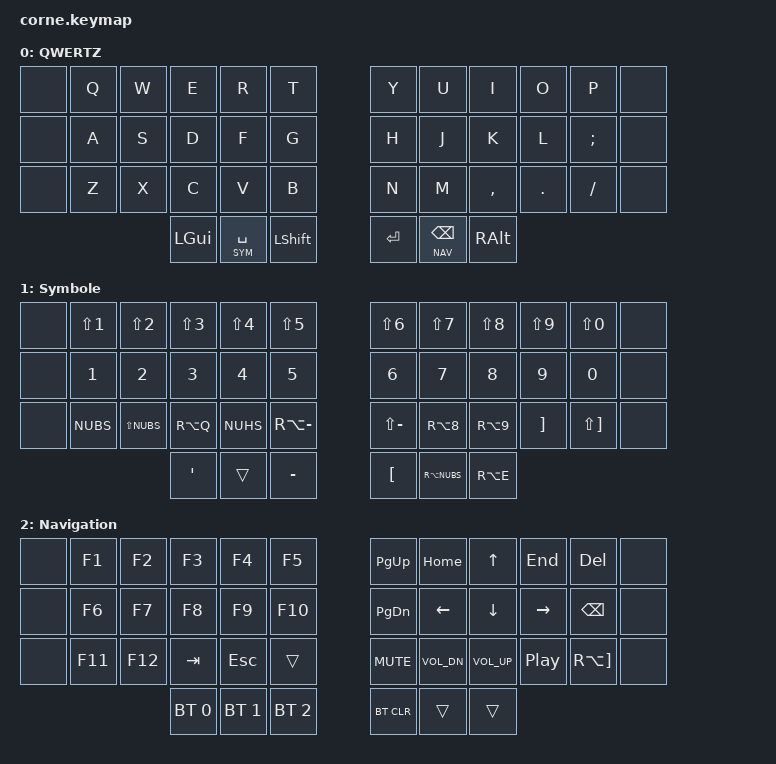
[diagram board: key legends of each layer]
/*
 * Corne 5-Column (36 Tasten) mit deutschem QWERTZ
 * Voraussetzung: Betriebssystem steht auf deutschem Tastaturlayout.
 * ZMK sendet HID Codes (US-Positionen), das OS macht daraus QWERTZ.
 * Darum steht fuer "Z" der HID Code Y und umgekehrt.
 */

#include <behaviors.dtsi>
#include <dt-bindings/zmk/keys.h>
#include <dt-bindings/zmk/bt.h>

/* Deutsche Sonderzeichen (HID Code + Modifier) */
#define DE_AE   SQT
#define DE_OE   SEMI
#define DE_UE   LBKT
#define DE_SS   MINUS
#define DE_EXCL LS(N1)
#define DE_DQT  LS(N2)
#define DE_SECT LS(N3)
#define DE_DLR  LS(N4)
#define DE_PRCT LS(N5)
#define DE_AMPS LS(N6)
#define DE_SLSH LS(N7)
#define DE_LPAR LS(N8)
#define DE_RPAR LS(N9)
#define DE_EQL  LS(N0)
#define DE_QMARK LS(MINUS)
#define DE_PLUS RBKT
#define DE_STAR LS(RBKT)
#define DE_HASH NUHS
#define DE_LT   NUBS
#define DE_GT   LS(NUBS)
#define DE_PIPE RA(NUBS)
#define DE_BSLH RA(MINUS)
#define DE_AT   RA(Q)
#define DE_EURO RA(E)
#define DE_LBRC RA(N8)
#define DE_RBRC RA(N9)
#define DE_LCBR RA(N7)
#define DE_RCBR RA(N0)
#define DE_TILD RA(RBKT)
#define DE_MINS SLASH
#define DE_COLN LS(DOT)
#define DE_SEMI LS(COMMA)

#define BASE 0
#define SYM  1
#define NAV  2

/ {
    combos {
        compatible = "zmk,combos";

        /* Ue: P + Oe */
        combo_ue {
            timeout-ms = <40>;
            key-positions = <10 22>;
            bindings = <&kp DE_UE>;
        };
        /* Ae: Oe + Minus (untere Reihe rechts) */
        combo_ae {
            timeout-ms = <40>;
            key-positions = <22 34>;
            bindings = <&kp DE_AE>;
        };
        /* ss: O + P */
        combo_ss {
            timeout-ms = <40>;
            key-positions = <9 10>;
            bindings = <&kp DE_SS>;
        };
    };

    keymap {
        compatible = "zmk,keymap";

        base_layer {
            label = "QWERTZ";
            bindings = <
&none &kp Q &kp W &kp E &kp R &kp T &kp Y &kp U &kp I &kp O &kp P &none
&none &kp A &kp S &kp D &kp F &kp G &kp H &kp J &kp K &kp L &kp DE_OE &none
&none &kp Z &kp X &kp C &kp V &kp B &kp N &kp M &kp COMMA &kp DOT &kp DE_MINS &none
&kp LGUI &lt SYM SPACE &kp LSHFT &kp RET &lt NAV BSPC &kp RALT
            >;
        };

        sym_layer {
            label = "Symbole";
            bindings = <
&none &kp DE_EXCL &kp DE_DQT &kp DE_SECT &kp DE_DLR &kp DE_PRCT &kp DE_AMPS &kp DE_SLSH &kp DE_LPAR &kp DE_RPAR &kp DE_EQL &none
&none &kp N1 &kp N2 &kp N3 &kp N4 &kp N5 &kp N6 &kp N7 &kp N8 &kp N9 &kp N0 &none
&none &kp DE_LT &kp DE_GT &kp DE_AT &kp DE_HASH &kp DE_BSLH &kp DE_QMARK &kp DE_LBRC &kp DE_RBRC &kp DE_PLUS &kp DE_STAR &none
&kp DE_AE &trans &kp DE_SS &kp DE_UE &kp DE_PIPE &kp DE_EURO
            >;
        };

        nav_layer {
            label = "Navigation";
            bindings = <
&none &kp F1 &kp F2 &kp F3 &kp F4 &kp F5 &kp PG_UP &kp HOME &kp UP &kp END &kp DEL &none
&none &kp F6 &kp F7 &kp F8 &kp F9 &kp F10 &kp PG_DN &kp LEFT &kp DOWN &kp RIGHT &kp BSPC &none
&none &kp F11 &kp F12 &kp TAB &kp ESC &trans &kp C_MUTE &kp C_VOL_DN &kp C_VOL_UP &kp C_PP &kp DE_TILD &none
&bt BT_SEL 0 &bt BT_SEL 1 &bt BT_SEL 2 &bt BT_CLR &trans &trans
            >;
        };
    };
};
